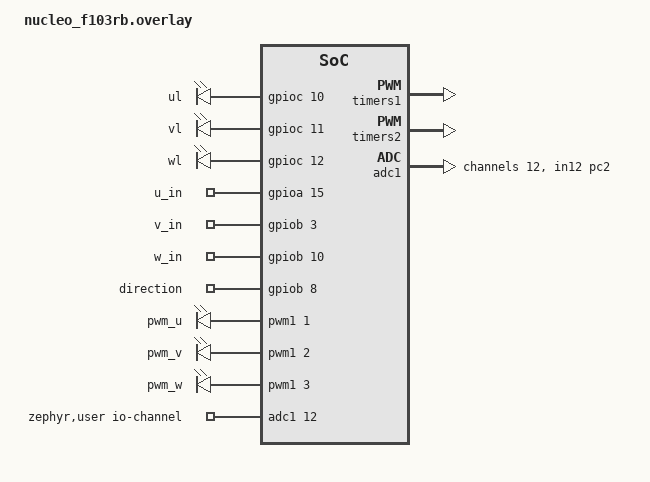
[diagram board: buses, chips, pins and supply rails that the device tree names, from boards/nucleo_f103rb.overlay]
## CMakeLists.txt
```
# SPDX-License-Identifier: Apache-2.0

cmake_minimum_required(VERSION 3.20.0)


find_package(Zephyr REQUIRED HINTS $ENV{ZEPHYR_BASE})
project(CAN)

target_sources(app PRIVATE src/main.cpp)
```

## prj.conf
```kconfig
CONFIG_POLL=y
CONFIG_CAN=y
CONFIG_CAN_INIT_PRIORITY=80
CONFIG_CAN_MAX_FILTER=5

CONFIG_SHELL=y
CONFIG_CAN_SHELL=y
CONFIG_DEVICE_SHELL=y

CONFIG_GPIO=y
CONFIG_STATS=y
CONFIG_STATS_NAMES=y
CONFIG_STATS_SHELL=y
CONFIG_CAN_STATS=y

CONFIG_CPP=y

CONFIG_ADC=y
CONFIG_PWM=y
CONFIG_COUNTER=y
```

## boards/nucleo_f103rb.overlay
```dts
/*
&can1 {
	status = "okay";
	pinctrl-0 = <&can_rx_pa11>, <&can_rx_pb8>;
	pinctrl-names = "default";
                bus-speed = <125000>;
                //sample-point = <875>;
                //bus-speed-data = <1000000>;
                //sample-point-data = <750>;
};
*/
/ {
	chosen {
		zephyr,canbus = &can1;
	};

        leds {
                compatible = "gpio-leds";
                ul: ul {
                        gpios = <&gpioc 10 GPIO_ACTIVE_HIGH>;
                };
                vl: vl {
                        gpios = <&gpioc 11 GPIO_ACTIVE_HIGH>;
                };
                wl: wl {
                        gpios = <&gpioc 12 GPIO_ACTIVE_HIGH>;
                };
        };
 
        gpio_keys {
                compatible = "gpio-keys";
                u_in: u_in {
                        gpios = <&gpioa 15 (GPIO_ACTIVE_HIGH | GPIO_PULL_DOWN)>;
                };
                v_in: v_in {
                        gpios = <&gpiob 3 (GPIO_ACTIVE_HIGH | GPIO_PULL_DOWN)>;
                };
                w_in: w_in {
                        gpios = <&gpiob 10 (GPIO_ACTIVE_HIGH | GPIO_PULL_DOWN)>;
                };
                direction: direction {
                        gpios = <&gpiob 8 GPIO_ACTIVE_HIGH>;
                };
        };
 
        pwmleds {
                compatible = "pwm-leds";
                pwm_u: pwm_u {
                        pwms = <&pwm1 1 PWM_USEC(20) PWM_POLARITY_NORMAL>;
                };
                pwm_v: pwm_v {
                        pwms = <&pwm1 2 PWM_USEC(20) PWM_POLARITY_NORMAL>;
                };
                pwm_w: pwm_w {
                        pwms = <&pwm1 3 PWM_USEC(20) PWM_POLARITY_NORMAL>;
                };
        };
 
        //analog_axis {
        zephyr,user {
                io-channels = <&adc1 12>;
        };
        //};
};
 
&usart1 {
        status = "disabled";
};

&i2c1 {
        status = "disabled";
};

&spi1 {
        status = "disabled";
};

&spi2 {
        status = "disabled";
};
/*
&gpioa {
        status = "okay";
};

&gpiob {
        status = "okay";
};
*/

&timers1 {
        status = "okay";
        st,prescaler = <79>;

        pwm1: pwm {
                compatible = "st,stm32-pwm";
                status = "okay";
                pinctrl-0 = <&tim1_ch1_pwm_out_pa8>, <&tim1_ch2_pwm_out_pa9>, <&tim1_ch3_pwm_out_pa10>;
                pinctrl-names = "default";
                #pwm-cells = <3>;
        };
};
 
&timers2 {
        status = "okay";
        st,prescaler = <799>;
	pwm {
		status = "disabled";
	};

	counter2: counter {
		status = "okay";
	};
};

&adc1 {
        #address-cells = <1>;
        #size-cells = <0>;

        pinctrl-0 = <&adc1_in12_pc2>;
        pinctrl-names = "default";
        status = "okay";
 
        channel@12 {
                reg = <12>;
                zephyr,gain = "ADC_GAIN_1";
                zephyr,reference = "ADC_REF_INTERNAL";
                zephyr,acquisition-time = <ADC_ACQ_TIME_DEFAULT>;
                zephyr,resolution = <12>;
        };
};
```

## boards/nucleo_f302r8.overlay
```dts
/ {
        chosen {
                zephyr,canbus = &can1;
        };

	pwmleds {
		compatible = "pwm-leds";
		pwm_u: pwm_u {
			pwms = <&pwm1 1 PWM_USEC(20) PWM_POLARITY_NORMAL>;
		};
		pwm_v: pwm_v {
			pwms = <&pwm1 2 PWM_USEC(20) PWM_POLARITY_NORMAL>;
		};
		pwm_w: pwm_w {
			pwms = <&pwm1 3 PWM_USEC(20) PWM_POLARITY_NORMAL>;
		};
	};
 
	zephyr,user {
		io-channels = <&adc1 1>, <&adc1 6>, <&adc1 7>, <&adc1 8>;
	};
};
 
&usart1 {
	status = "disabled";
};

&usart3 {
	status = "disabled";
};

&i2c1 {
	status = "disabled";
};

&spi2 {
	status = "disabled";
};
/*
&gpioa {
	status = "okay";
};

&gpiob {
	status = "okay";
};
*/

&timers1 {
	status = "okay";
	st,prescaler = <7>;

	pwm1: pwm {
		compatible = "st,stm32-pwm";
		status = "okay";
		pinctrl-0 = <&tim1_ch1_pa8>, <&tim1_ch2_pa9>, <&tim1_ch3_pa10>;
		pinctrl-names = "default";
		#pwm-cells = <3>;
	};
};

&timers2 {
	status = "okay";
	st,prescaler = <799>;
	pwm {
		status = "disabled";
	};

	counter2: counter {
		status = "okay";
	};
};

&timers3 {
	status = "okay";
	st,prescaler = <7>;
	pwm {
		status = "disabled";
	};

	counter3: counter {
		status = "okay";
	};
};

&timers6 {
	status = "okay";
	st,prescaler = <79>;
	pwm {
		status = "disabled";
	};

	counter6: counter {
		status = "okay";
	};
};

&timers7 {
	status = "okay";
	st,prescaler = <79>;
	pwm {
		status = "disabled";
	};

	counter7: counter {
		status = "okay";
	};
};

&timers15 {
	status = "okay";
	st,prescaler = <79>;
	pwm {
		status = "disabled";
	};

	counter15: counter {
		status = "okay";
	};
};

&timers16 {
	status = "okay";
	st,prescaler = <79>;
	pwm {
		status = "disabled";
	};

	counter16: counter {
		status = "okay";
	};
};

&timers17 {
	status = "okay";
	st,prescaler = <79>;
	pwm {
		status = "disabled";
	};

	counter17: counter {
		status = "okay";
	};
};

&adc1 {
	#address-cells = <1>;
	#size-cells = <0>;

	pinctrl-0 = <&adc1_in1_pa0>, <&adc1_in6_pc0>, <&adc1_in7_pc1>, <&adc1_in8_pc2>;
	pinctrl-names = "default";
	status = "okay";
 
	channel@1 {
		reg = <1>;
		zephyr,gain = "ADC_GAIN_1";
		zephyr,reference = "ADC_REF_INTERNAL";
		zephyr,acquisition-time = <ADC_ACQ_TIME_DEFAULT>;
		zephyr,resolution = <12>;
	};

	channel@6 {
		reg = <6>;
		zephyr,gain = "ADC_GAIN_1";
		zephyr,reference = "ADC_REF_INTERNAL";
		zephyr,acquisition-time = <ADC_ACQ_TIME_DEFAULT>;
		zephyr,resolution = <12>;
	};

	channel@7 {
		reg = <7>;
		zephyr,gain = "ADC_GAIN_1";
		zephyr,reference = "ADC_REF_INTERNAL";
		zephyr,acquisition-time = <ADC_ACQ_TIME_DEFAULT>;
		zephyr,resolution = <12>;
	};

	channel@8 {
		reg = <8>;
		zephyr,gain = "ADC_GAIN_1";
		zephyr,reference = "ADC_REF_INTERNAL";
		zephyr,acquisition-time = <ADC_ACQ_TIME_DEFAULT>;
		zephyr,resolution = <12>;
	};
};

&can1 {
        status = "okay";
        pinctrl-0 = <&can_rx_pa11>, <&can_tx_pa12>;
        pinctrl-names = "default";
                bus-speed = <500000>;
                //sample-point = <875>;
                //bus-speed-data = <1000000>;
                //sample-point-data = <750>;
};
```

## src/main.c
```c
#include <stdio.h>
#include <stdlib.h>
#include <zephyr/drivers/gpio.h>
#include <zephyr/drivers/adc.h>
#include <zephyr/drivers/pwm.h>
#include <zephyr/drivers/counter.h>

unsigned int q = 0, r = 0, s = 0;
int START = 8;

const struct gpio_dt_spec myled = GPIO_DT_SPEC_GET(DT_ALIAS(led0), gpios);
// static const struct gpio_dt_spec button = GPIO_DT_SPEC_GET(DT_NODELABEL(user_button), gpios);

const struct gpio_dt_spec EN_1 = GPIO_DT_SPEC_GET(DT_NODELABEL(ul), gpios);
const struct gpio_dt_spec EN_2 = GPIO_DT_SPEC_GET(DT_NODELABEL(vl), gpios);
const struct gpio_dt_spec EN_3 = GPIO_DT_SPEC_GET(DT_NODELABEL(wl), gpios);
const struct gpio_dt_spec H_A = GPIO_DT_SPEC_GET(DT_NODELABEL(u_in), gpios);
const struct gpio_dt_spec H_B = GPIO_DT_SPEC_GET(DT_NODELABEL(v_in), gpios);
const struct gpio_dt_spec H_C = GPIO_DT_SPEC_GET(DT_NODELABEL(w_in), gpios);
const struct pwm_dt_spec mypwm_A = PWM_DT_SPEC_GET(DT_NODELABEL(pwm_u));
const struct pwm_dt_spec mypwm_B = PWM_DT_SPEC_GET(DT_NODELABEL(pwm_v));
const struct pwm_dt_spec mypwm_C = PWM_DT_SPEC_GET(DT_NODELABEL(pwm_w));

const struct adc_dt_spec V_adc = ADC_DT_SPEC_GET(DT_PATH(zephyr_user));

const struct device *uT = DEVICE_DT_GET(DT_NODELABEL(counter2));

struct gpio_callback cb_H_A;
struct gpio_callback cb_H_B;
struct gpio_callback cb_H_C;
struct gpio_callback cb_button;

// RawCAN can1(PA_11, PA_12);
// unsigned int UP, VP, WP;

float Vr_adc = 0.0f;

uint32_t top_cb_count;

static void top_callback(const struct device *dev, void *user_data);

static struct counter_top_cfg top_cfg = {
	.ticks = 60000,
	.callback = top_callback,
	.user_data = &top_cb_count,
};

int64_t ut1 = 0, ut2 = 0, usi = 0;
float Speed = 0;

char message[64];
int canerr;

uint32_t loop_count;

int dummy_speed;
/*
void send_can_msg()
{
    CANMessage msg;

    float spd = Speed;

    msg.id = 0x3d9;
    msg.len = 8U;
    msg.format = CANStandard;
    msg.type = CANData;
    msg.data[0] = 0;
    msg.data[1] = 0;
    msg.data[2] = (spd * 4) / 256;
    msg.data[3] = int(spd * 4) % 256;
    msg.data[4] = 0;
    msg.data[5] = 0;
    msg.data[6] = 0;
    msg.data[7] = 0;

    canerr = can1.write(msg);

    msg.id = 0x3e9;
    msg.len = 8U;
    msg.format = CANStandard;
    msg.type = CANData;
    msg.data[0] = (spd * 128) / 256;
    msg.data[1] = int(spd * 128) % 256;
    msg.data[2] = 0;
    msg.data[3] = 0;
    msg.data[4] = 0;
    msg.data[5] = 0;
    msg.data[6] = 0;
    msg.data[7] = 0;

    canerr = can1.write(msg);

    dummy_speed++;
}
*/

void top_callback(const struct device *dev, void *user_data)
{
	uint32_t *cnt = static_cast<uint32_t*>(user_data);
	*cnt = *cnt + 1;
}

void pwm_write(const struct pwm_dt_spec *dt, float ratio)
{
	pwm_set_dt(dt, dt->period, dt->period * ratio);
}

void HAH()
{
	uint32_t tick;
	s = r % 2;
	if (s == 0) {
		counter_get_value(uT, &tick);
		ut1 = top_cb_count * top_cfg.ticks + tick;
		r++;
	}

	if (s == 1) {
		counter_get_value(uT, &tick);
		ut2 = top_cb_count * top_cfg.ticks + tick;
		r++;
		counter_stop(uT);
		counter_start(uT);
	}
	pwm_write(&mypwm_A, Vr_adc);
	pwm_write(&mypwm_B, 0);
	pwm_write(&mypwm_C, 0);
}

void HAL()
{

	pwm_write(&mypwm_A, 0);
	pwm_write(&mypwm_C, 0);
}
void HBH()
{

	pwm_write(&mypwm_A, 0);
	pwm_write(&mypwm_B, Vr_adc);
	pwm_write(&mypwm_C, 0);
}
void HBL()
{

	pwm_write(&mypwm_A, 0);
	pwm_write(&mypwm_B, 0);
}
void HCH()
{

	pwm_write(&mypwm_A, 0);
	pwm_write(&mypwm_B, 0);
	pwm_write(&mypwm_C, Vr_adc);
}

void HCL()
{
	pwm_write(&mypwm_B, 0);
	pwm_write(&mypwm_C, 0);
}

void H_A_handler(const struct device *port, struct gpio_callback *cb, gpio_port_pins_t pins)
{
	if (gpio_pin_get_dt(&H_A)) {
		HCH();
	} else {
		HCL();
	}
}

void H_B_handler(const struct device *port, struct gpio_callback *cb, gpio_port_pins_t pins)
{
	if (gpio_pin_get_dt(&H_B)) {
		HAH();
	} else {
		HAL();
	}
}

void H_C_handler(const struct device *port, struct gpio_callback *cb, gpio_port_pins_t pins)
{
	if (gpio_pin_get_dt(&H_C)) {
		HBH();
	} else {
		HBL();
	}
}

/*
void button_handler(const struct device *port,
					struct gpio_callback *cb,
					gpio_port_pins_t pins)
{
	if (gpio_pin_get_dt(&button)) {
		printf("button_rise\n");
	} else {
		printf("button_fall\n");
	}
}
*/

float volume_read(const struct adc_dt_spec *dt)
{
	uint16_t buf;
	struct adc_sequence seq = {
		.buffer = &buf,
		.buffer_size = sizeof(buf),
	};
	(void)adc_sequence_init_dt(dt, &seq);
	adc_read_dt(dt, &seq);
	return (1.0f * buf) / BIT(seq.resolution);
}

int main()
{
	// can1.frequency(500000);
	// can1.mode(mbed::interface::can::Normal);
	gpio_pin_configure_dt(&myled, GPIO_OUTPUT);
	gpio_pin_configure_dt(&EN_1, GPIO_OUTPUT);
	gpio_pin_configure_dt(&EN_2, GPIO_OUTPUT);
	gpio_pin_configure_dt(&EN_3, GPIO_OUTPUT);

	gpio_pin_configure_dt(&H_A, GPIO_INPUT);
	gpio_pin_configure_dt(&H_B, GPIO_INPUT);
	gpio_pin_configure_dt(&H_C, GPIO_INPUT);

	gpio_pin_interrupt_configure_dt(&H_A, GPIO_INT_EDGE_BOTH);
	gpio_pin_interrupt_configure_dt(&H_B, GPIO_INT_EDGE_BOTH);
	gpio_pin_interrupt_configure_dt(&H_C, GPIO_INT_EDGE_BOTH);
	// gpio_pin_interrupt_configure_dt(&button, GPIO_INT_EDGE_BOTH);

	gpio_init_callback(&cb_H_A, H_A_handler, BIT(H_A.pin));
	gpio_init_callback(&cb_H_B, H_B_handler, BIT(H_B.pin));
	gpio_init_callback(&cb_H_C, H_C_handler, BIT(H_C.pin));
	// gpio_init_callback(&cb_button, button_handler, BIT(button.pin));

	gpio_add_callback_dt(&H_A, &cb_H_A);
	gpio_add_callback_dt(&H_B, &cb_H_B);
	gpio_add_callback_dt(&H_C, &cb_H_C);
	// gpio_add_callback_dt(&button, &cb_button);

	adc_channel_setup_dt(&V_adc);

	gpio_pin_set_dt(&EN_1, 1);
	gpio_pin_set_dt(&EN_2, 1);
	gpio_pin_set_dt(&EN_3, 1);

	counter_set_top_value(uT, &top_cfg);
	int er = counter_start(uT);

	while (1) {
		Vr_adc = volume_read(&V_adc);
		pwm_write(&mypwm_C, Vr_adc);

		// send_can_msg();

		if ((Vr_adc > 0.15f) && (q == 0)) {
			while (q < 50) {

				pwm_write(&mypwm_A, 0);
				pwm_write(&mypwm_B, 0.5f);
				pwm_write(&mypwm_C, 0);
				k_msleep(START);

				pwm_write(&mypwm_A, 0.5f);
				pwm_write(&mypwm_B, 0);
				pwm_write(&mypwm_C, 0);
				k_msleep(START);

				pwm_write(&mypwm_A, 0);
				pwm_write(&mypwm_B, 0);
				pwm_write(&mypwm_C, 0.5f);
				k_msleep(START);
				q++;
			}
		}

		//  s=0;
		if (Vr_adc < 0.1f) {
			q = 0;
		}

		usi = abs(ut2 - ut1);
		Speed = 60 * (1 / (7.0 * usi * 1E-6));

		/*
		snprintf(message, sizeof(message), "%d.%03d , %d.%03d \r", (int)Speed,
			 (int)(Speed * 1000.0) % 1000, (int)Vr_adc, (int)(Vr_adc * 1000.0) % 1000);
		printf("%s", message);
		printf("%d  ,%d ,%d\r" ,gpio_pin_get_dt(&H_A),gpio_pin_get_dt(&H_B),gpio_pin_get_dt(&H_C));
		*/

		gpio_pin_toggle_dt(&myled);
	}
}
```

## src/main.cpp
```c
/**********************************************************/
/*Copyright ? 2021 Akiyoshi Oguro All Rights Reserved.*****/
/*矩形波駆動　CQBLDC_KIT+Nucleo_STM32F302R8+CQブラシレスモータ*/
/*EN1,EN2,EN3　→　UL、VL、WL 変更 20210331　*****************/
/*PWM優先駆動、PI制御周期化、アクセル⇔ボリューム切り替え機能追加**/
/*速度制御、電流制御、PWMDuty制御 切り替え機能追加***************/
/***************PWMDuty制御 切り替え機能変更****************/
/****************PI制御正規化*******************************/
/***************Ajust=0.7; //Nrpm_S回転速度計算値の調整******/
/*******************20210526*******************************/
#include "mbed.h"
#include <math.h>
#include <zephyr/drivers/can.h>

static const struct device *const can_dev = DEVICE_DT_GET(DT_CHOSEN(zephyr_canbus));

#define VMAX_SET  1.0f/*PI制御最大電圧指令0.0～1.0*/
#define IMAX_SET  0.4f/* PI制御最大電流指令0.0～1.0*/

/**********PI制御周期設定*********************/
/***コメントアウトでPI周期制御無し***********/
#define TickSpeed
#define TickCurrent
/*****************************************/
PwmOut PWM_U(PA_8); 
PwmOut PWM_V(PA_9); 
PwmOut PWM_W(PA_10);

DigitalOut UL(PA_7);
DigitalOut VL(PB_0);
DigitalOut WL(PB_1);


AnalogIn Curr_ui(PA_0);
AnalogIn Curr_vi(PC_1);
AnalogIn Curr_wi(PC_0);

//AnalogIn V_adc(PB_1); // Blue On Board volume
//AnalogIn V_adc(PC_2); // Gaibu Potention IHM07
//AnalogIn V_adc(PA_6); // Gaibu Potention IHM08
AnalogIn V_adc(PC_2);   // Gaibu Potention CQInv_KIT 

InterruptIn  HA(PA_15);
InterruptIn  HB(PB_3);
InterruptIn  HC(PB_10);

DigitalIn  U_in(PA_15);
DigitalIn  V_in(PB_3);
DigitalIn  W_in(PB_10);

DigitalIn Direction(PB_8);

Timer uTimer(DEVICE_DT_GET(DT_NODELABEL(counter15)));
Timer& vTimer = uTimer;//(DEVICE_DT_GET(DT_NODELABEL(counter6)));
Timer& wTimer = uTimer;//(DEVICE_DT_GET(DT_NODELABEL(counter7)));
//Timer Timer1; 

//AnalogOut SWAVE(PA_4);

Serial pc(USBTX,USBRX);

DigitalOut myled(LED1);

/************Option*********************/
unsigned char  acc_vol=1;            //オプション１ acc_vol==0 はVolume  acc_vol==1はAccel
unsigned char  Sp_tick=0,Cu_tick=0;  //周期PI制御フラグ
float Sp_ticktime=160,Cu_ticktime=80;//オプション２，３ PI制御周期時間、単位μsec
float  change_pwm_N=20;              //オプション５ ホールセンサエッジPWM優先駆動開始回転数
unsigned char  rt_pwm;               // ホールセンサエッジ割り込みPWM優先駆動フラグ rt_pwm＝１、優先無しrt_pwm＝0
/*******************************************/

unsigned char  HUVW;/* サンプリング開始時のHole ICの状態 */

unsigned int t_cnt = 0; /* キャプチャ間のcnt数 */

unsigned int Timer_cnt_C = 0; /* キャプチャの値 */
unsigned int Timer_cnt_A = 0; /* キャプチャの値 */
unsigned int Timer_cnt_B = 0; /* キャプチャの値 */
unsigned int Timer_cnt_C_1 = 0; /* キャプチャの値old */
unsigned int Timer_cnt_A_1 = 0; /* キャプチャの値old */
unsigned int Timer_cnt_B_1 = 0; /* キャプチャの値old */

float   iu_ad, iv_ad, iw_ad;
float   Vu_ad, Vv_ad, Vw_ad;
float   vr1_ad,vr_ad,vr1_ad_p;//vr2_ad;
float   Vr_adc_i;  
float   refu, refv, refw;
float   curr_ub,curr_vb,curr_wb,curr_u,curr_v,curr_w;


float   Nrpm = 0;/* 回転数[r/min] */
float   Nrpm_Previous = 0;/* 回転数[r/min]old  */
float   Nrpm_s = 0;/* 回転数[r/min]  */
float   Speed_now=0;
float   Speed_MAX = 3500.0;/* 速度指令合大値 6直1500 3直2並2500 2直3並3500 6並6500 */
float   Speed_SET = 0.0; /* 速度指令[r/min] */
float   Speed_SET0 = 0.0; /* 速度指令[r/min] */
float   Accel_dN = 1.0; /* 加速レイト */
float   Decel_dN = 1.0; /* 減速レイト */
float   Speed_mini=300;
float   Speed_err_MAX=10000;

/* ↓正弦波駆動に向けて追加 */

unsigned int Timer_FLG = 0; /*  キャプチャあり/なし, 1/0  */
unsigned int Timer_cnt_start = 0; /*  サンプル開始時のカウンタ値 */
unsigned int Timer_cnt_Hole = 0; /*  キャプチャ時ののカウンタ値 */



unsigned char  UVW;
unsigned char  U, V, W;
unsigned char  PWM_Drive_M = 1;/* PWMモード */
unsigned char  Direct_R = 1; /* Direct_R -> 1:正転，0:逆転 */

/* **************** */
/*     電流制御     */
/* **************** */

float kpCurrent = 0.000522; /* 比例ゲイン */
float kiCurrent = 0.00022;  /* 積分ゲイン */
float s_kiCurrent=0;
float I_PI=0,I_PII;
float I_diff=0;
float I_detect=0;
float Vpi=0;

/* **************** */
/*     速度制御     */
/* **************** */
float kaiten=0;
float Speed_diff = 0.0; /* 速度誤差 */
float kpSpeed = 1.4;    /* 比例ゲイン 0.4;*/
float kiSpeed = 0.8; /* 積分ゲイン 0,2;*/
float s_kiSpeed = 0.0; /* 積分器中身 */
float Speed_diff_norm=0.0;
float Ajust=0.7; //Nrpm_S回転速度計算値の調整
/*******Ticker*********************/
Ticker Sp(DEVICE_DT_GET(DT_NODELABEL(counter16)));
Ticker Cu(DEVICE_DT_GET(DT_NODELABEL(counter17)));

/*******************************************/
 float  PWMDuty=0;



static void tx_irq_callback(const struct device *dev, int error, void *arg)
{
	char *sender = (char *)arg;

	ARG_UNUSED(dev);

	if (error != 0) {
		printf("Callback! error-code: %d\nSender: %s\n",
		       error, sender);
	}
}

int dummy_speed;

static void send_engine_speed(const struct device *can_dev, struct can_frame *frame, int speed)
{
	//speed = dummy_speed;
	dummy_speed++;

	memset(frame, 0, sizeof(struct can_frame));
            //# Engine speed
            //speed = self.simulator.get_engine_speed()
            //if self.verbose:
            //    print('engine speed = %d' % speed)
            //if speed > 16383.75:
            //    speed = 16383.75
            //# Message is 1 byte unknown, 1 byte fuel level, 2 bytes engine speed (4x), fuel low @ bit 55

       	//msg = [ 0, 0 ]
	frame->data[0] = 0;
	frame->data[1] = 0;
        //speed *= 4
        //msg.append(speed // 256)
        //msg.append(speed % 256)
	frame->data[2] = (speed * 4) / 256;
	frame->data[3] = (speed * 4) % 256;
        //# pad remaining bytes to make 8
        //msg.append(0)
        //msg.append(0)
        //msg.append(0)
        //msg.append(0)
	frame->data[4] = 0;
	frame->data[5] = 0;
	frame->data[6] = 0;
	frame->data[7] = 0;

	frame->id = 0x3d9;
	frame->flags = 0;
	frame->dlc = 8;

	can_send(can_dev, frame, K_FOREVER, tx_irq_callback, const_cast<char*>("send_engine_speed"));
}

static void send_vehicle_speed(const struct device *can_dev, struct can_frame *frame, int speed)
{
	memset(frame, 0, sizeof(struct can_frame));
        //# Vehicle speed
        //speed = int(self.simulator.get_vehicle_speed()) % 256
        /* Message is 15 bits speed (64x), left aligned */
        /* Note: extra 2x to yield required left-alignment */
	frame->data[0] = ((speed/60) * 128) / 256;
	frame->data[1] = ((speed/60) * 128) % 256;
        /* pad remaining bytes to make 8 */
	frame->data[2] = 0;
	frame->data[3] = 0;
	frame->data[4] = 0;
	frame->data[5] = 0;
	frame->data[6] = 0;
	frame->data[7] = 0;

	frame->id = 0x3e9;
	frame->flags = 0;
	frame->dlc = 8;

	can_send(can_dev, frame, K_FOREVER, tx_irq_callback, const_cast<char*>("send_vehicle_speed"));
}

void send_can_data(struct can_frame *frame)
{
	send_engine_speed(can_dev, frame, 0);
	//send_vehicle_speed(can_dev, frame, 0);
}


/**************Hall Sensor******************/
unsigned char UVW_in(void)
{
    unsigned char temp8;
#if 1
    temp8 = W_in;  
    temp8 = (temp8+temp8) + V_in; //V
    temp8 = (temp8+temp8) + U_in; //U
    
#endif
    return temp8;
}
/********Hall Caputure****************/
void Capture_u()
    {            
    Timer_cnt_A = uTimer.read_us();
    Timer_FLG = 1;  /* キャプチャ発生フラグ */
    Timer_cnt_Hole = Timer_cnt_A;/**/
    
    t_cnt = Timer_cnt_A - Timer_cnt_A_1;
    if(t_cnt<1){t_cnt=1;}
    else{}
    Nrpm = (float)(5000000/ t_cnt);
    if( ((Nrpm-Nrpm_Previous)<Speed_err_MAX) && ((Nrpm-Nrpm_Previous)>(-Speed_err_MAX)) )
    { /* 速度異常 */
           Nrpm_Previous = Nrpm;
    }
    else
    {
       Nrpm = Nrpm_Previous;
    }
    Timer_cnt_A_1 = Timer_cnt_A;
  }
    
void Capture_v()
    {
              
    Timer_cnt_B = vTimer.read_us();
    
    Timer_FLG = 1;  /* キャプチャ発生フラグ */
    Timer_cnt_Hole = Timer_cnt_B;/**/

    t_cnt = Timer_cnt_B - Timer_cnt_B_1;
    if(t_cnt<1){t_cnt=1;}
    else{}
    Nrpm = (float)(5000000/ t_cnt);//P=8 
    if( ((Nrpm-Nrpm_Previous)<Speed_err_MAX) && ((Nrpm-Nrpm_Previous)>(-Speed_err_MAX)) )
    { /* 速度異常 */
           Nrpm_Previous = Nrpm;
    }
    else
    {
       Nrpm = Nrpm_Previous;
    }
    Timer_cnt_B_1 = Timer_cnt_B;
  }
   
void Capture_w()
    {
              
    Timer_cnt_C = wTimer.read_us();
    
    Timer_FLG = 1;  /* キャプチャ発生フラグ */
    Timer_cnt_Hole = Timer_cnt_C;/**/

    t_cnt = Timer_cnt_C - Timer_cnt_C_1;
    if(t_cnt<1){t_cnt=1;}
    else{}
    Nrpm = (float)(5000000/ t_cnt);
    if( ((Nrpm-Nrpm_Previous)<Speed_err_MAX) && ((Nrpm-Nrpm_Previous)>(-Speed_err_MAX)) )
    { /* 速度異常 */
           Nrpm_Previous = Nrpm;
    }
    else
    {
       Nrpm = Nrpm_Previous;
    }
    Timer_cnt_C_1 = Timer_cnt_C;
  } 

/*********************************************/

int u_count;
int ul_count;
int v_count;
int vl_count;
int w_count;
int wl_count;
 /* Hall_uにキャプチャ発生 */
void Hall_u()
    {            
u_count++;
  if(rt_pwm==1){
    
    if(Direct_R==0){
       PWM_U.write(PWMDuty); PWM_V.write(0); PWM_W.write(0); 
       UL=1; VL = 0; WL= 1;//0:Active 1:High inpeedance 
       }
    if(Direct_R==1){
       PWM_U.write(0); PWM_V.write(0); PWM_W.write(PWMDuty); 
       UL=1; VL = 0; WL= 1;//0:Active 1:High inpeedance 
       }
    
    }else{}
    Capture_u();//速度計算へ
     }
 void Hall_ul() 
    {
ul_count++;
      
    if(rt_pwm==1){
     
    if(Direct_R==0){
    PWM_U.write(0); PWM_V.write(PWMDuty); PWM_W.write(0); 
    UL=0; VL = 1; WL= 1;//0:Active 1:High inpeedance 
    }
    if(Direct_R==1){
    PWM_U.write(0); PWM_V.write(PWMDuty); PWM_W.write(0); 
    UL=1; VL = 1; WL= 0;//0:Active 1:High inpeedance 
    
     }
    
    }else{}  
    Capture_u();//速度計算へ
    }  
    
    /* Hall_vにキャプチャ発生 */
void Hall_v()
    { 
v_count++;
    
    if(rt_pwm==1){
        
    if(Direct_R==0){
    PWM_U.write(0); PWM_V.write(PWMDuty); PWM_W.write(0); 
    UL=1; VL = 1; WL= 0;//0:Active 1:High inpeedance 
    }
    if(Direct_R==1){
    PWM_U.write(PWMDuty); PWM_V.write(0); PWM_W.write(0); 
    UL=1; VL = 1; WL= 0;//0:Active 1:High inpeedance 
    }
    
    }else{} 
     Capture_v();  //速度計算へ       
      }
    
void Hall_vl() 
    {
vl_count++;
     
     if(rt_pwm==1){
    if(Direct_R==0){
     PWM_U.write(0); PWM_V.write(0); PWM_W.write(PWMDuty); 
     UL=1; VL = 0; WL= 1;//0:Active 1:High inpeedance 
     }
    if(Direct_R==1){
     PWM_U.write(0); PWM_V.write(0); PWM_W.write(PWMDuty); 
     UL=0; VL = 1; WL= 1;//0:Active 1:High inpeedance 
     }
     
     }else{}
     Capture_v(); //速度計算へ
        }  
    /* Hall_Wにキャプチャ発生 */
void Hall_w()
    {
w_count++;
      
 if(rt_pwm==1){
         
    if(Direct_R==0){    
     PWM_U.write(0); PWM_V.write(0); PWM_W.write(PWMDuty); 
     UL=0; VL = 1; WL= 1;//0:Active 1:High inpeedance 
     }
    if(Direct_R==1){    
     PWM_U.write(0); PWM_V.write(PWMDuty); PWM_W.write(0); 
     UL=0; VL = 1; WL= 1;//0:Active 1:High inpeedance 
     }
    }else{}
     Capture_w(); //速度計算へ         
      }
void Hall_wl() 
    { 
wl_count++;
    
   if(rt_pwm==1){
        
    if(Direct_R==0){  
    PWM_U.write(PWMDuty); PWM_V.write(0); PWM_W.write(0); 
    UL=1; VL = 1; WL= 0;//0:Active 1:High inpeedance 
    }
    if(Direct_R==1){  
    PWM_U.write(PWMDuty); PWM_V.write(0); PWM_W.write(0); 
    UL=1; VL = 0; WL= 1;//0:Active 1:High inpeedance 
    }
    
    }else{}
    Capture_w();//速度計算へ
        } 
/****************************************/        
int speed_pi_count;
void Speed_PI(){
	speed_pi_count++;
    /* ----------- */
    /* SpeedのPI制御 */
    /* ----------- */
    s_kiSpeed += kiSpeed*Speed_diff;
    if(s_kiSpeed > IMAX_SET)
    {
    s_kiSpeed = IMAX_SET;
    }
    else
    {
    if(s_kiSpeed < (-IMAX_SET))
    {
       s_kiSpeed = -IMAX_SET; 
    }else{}
    }
    
    I_PI = s_kiSpeed + kpSpeed*Speed_diff;
    
    if(I_PI > IMAX_SET)
    {
    I_PI = IMAX_SET;
    }
    else
    {
    if(I_PI < (-IMAX_SET))
    {
        I_PI = -IMAX_SET; 
    }else{}
    }
 }

int current_pi_count;
 /***********************************/
 void Current_PI(){
	 current_pi_count++;
 I_diff = (I_PI - (I_detect-0.5f))*I_PII;
    s_kiCurrent += kiCurrent*(I_diff);
    if(s_kiCurrent > VMAX_SET)
    {
    s_kiCurrent = VMAX_SET;
    }
    else
    {
    if(s_kiCurrent < (-VMAX_SET))
    {
       s_kiCurrent = -VMAX_SET; 
    }else{}
    }
    
    
    Vpi = s_kiCurrent + kpCurrent*I_diff;
    
    if(Vpi > VMAX_SET)
    {
    Vpi = VMAX_SET;
    }
    else
    {
    if(Vpi < (-VMAX_SET))
    {
        Vpi = -VMAX_SET; 
    }else{}
    }
 
  }
    
/********main***********/
int main() {
  struct can_frame change_led_frame;
  int ret;
    //Timer1.start();  
    uTimer.start();
    vTimer.start();
    wTimer.start();
      
    PWM_U.period_us(25);//25
   
    PWM_V.period_us(25);
   
    PWM_W.period_us(25);
    
    pc.baud(115200);

    wait_ms(500);    
    Vr_adc_i=V_adc.read();  


	if (!device_is_ready(can_dev)) {
		printf("CAN: Device %s not ready.\n", can_dev->name);
		return 0;
	}

#ifdef CONFIG_LOOPBACK_MODE
	ret = can_set_mode(can_dev, CAN_MODE_LOOPBACK);
	if (ret != 0) {
		printf("Error setting CAN mode [%d]", ret);
		return 0;
	}
#endif
	ret = can_start(can_dev);
	if (ret != 0) {
		printf("Error starting CAN controller [%d]", ret);
		return 0;
	}



     
#ifdef TickSpeed
  Sp.attach_us(&Speed_PI, Sp_ticktime);
  Sp_tick=1;
#endif

#ifdef TickCurrent
  Cu.attach_us(&Current_PI, Cu_ticktime);
  Cu_tick=1;
#endif

#if PERIPH_CHECK
  while(1) {
	  k_msleep(1000);
	  printf("ticker %d %d\n", speed_pi_count, current_pi_count);
	  printf("timer %d %d %d\n", uTimer.read_us(), vTimer.read_us(), wTimer.read_us());
	  printf("adc V=%lf u=%lf v=%lf w=%lf\n", V_adc.read(), Curr_ui.read(), Curr_vi.read(), Curr_wi.read());

	  printf("intr %d %d %d %d %d %d\n", u_count, ul_count, v_count, vl_count, w_count, wl_count);
	  printf("In %d %d %d %d\n", (int)U_in, (int)V_in, (int)W_in, (int)Direction);
	  printf("Out %d %d %d\n", (int)UL, (int)VL, (int)WL);
  }

#else
 while(1) {
   send_can_data(&change_led_frame);
   //wait_us(50); //20
   //pc.printf("%.3f,%.3f,%.3f \r" ,du,dv,dw);
   vr_ad=V_adc.read();
   vr1_ad_p=(vr_ad-Vr_adc_i); //ボリュームを使う場合
   //vr1_ad_p=(vr_ad-Vr_adc_i)*1.3; //カート・キットのアクセルを使う場合
   vr1_ad+=(vr1_ad_p-vr1_ad)*0.2f;//0.1
     
    Timer_cnt_start = uTimer.read_us(); /* カウンタ値 */
    
    if(fabs(vr1_ad)<0.1f)
    {
       
        Speed_SET = 0.0;
        Speed_SET0 = 0.0;
        Speed_now=0;
        I_PI= 0;
        I_diff = 0;
        Speed_diff=0;
        Nrpm_s=0;
        Nrpm=0;
        PWMDuty=0;
        
        Timer_cnt_C = 0; /* キャプチャの値 */
        Timer_cnt_A = 0; /* キャプチャの値 */
        Timer_cnt_B = 0; /* キャプチャの値 */
        Timer_cnt_C_1 = 0; /* キャプチャの値old */
        Timer_cnt_A_1 = 0; /* キャプチャの値old */
        Timer_cnt_B_1 = 0; /* キャプチャの値old */
        s_kiCurrent=0;
        s_kiSpeed=0;
         I_PI=0;
        I_diff=0;
        I_detect=0;
        Vpi=0;
        kaiten=0;
        rt_pwm=0;
        
    }
    else
    {   
        }

   
   if(Direct_R>0){
      curr_ub=Curr_ui.read();
      curr_vb=Curr_vi.read();
      curr_wb=Curr_wi.read();
    }else{
      curr_ub=Curr_ui.read();
      curr_vb=Curr_vi.read();
      curr_wb=Curr_wi.read();
      
      }
      
      curr_u += ((curr_ub) - curr_u )*0.1f;
      curr_v += ((curr_vb) - curr_v )*0.1f;
      curr_w += ((curr_wb) - curr_w )*0.1f;
      

/* *********************************************** */    
/* [ 1 ] 速度検出↓ */
/* *********************************************** */

 /* キャプチャ発生 */
 
  if(Direct_R==1){  //1
  HA.rise(&Hall_u);
  HA.fall(&Hall_ul);
  HB.rise(&Hall_v);
  HB.fall(&Hall_vl);
  HC.rise(&Hall_w);
  HC.fall(&Hall_wl);
  }
 if(Direct_R==0){ //0    
  HA.rise(&Hall_u);
  HA.fall(&Hall_ul);
  HB.rise(&Hall_v);
  HB.fall(&Hall_vl);
  HC.rise(&Hall_w);
  HC.fall(&Hall_wl);
  }
 
   Nrpm_s = Nrpm;
   
  
/* *********************************************** */
 /* [ 2 ] 速度制御 ↓ */
 /* *********************************************** */     
        
    Speed_SET0 = fabs(Speed_MAX*vr1_ad); 
     if(Speed_SET0>0){      
        if(Speed_now > Speed_SET0)
        {
                Speed_now -= Decel_dN; 
                if(Speed_now < Speed_SET0)
                {
                Speed_now = Speed_SET0;
                }
                else{}
        }
        else{}
        
        if(Speed_now < Speed_SET0)
        {
            Speed_now += Accel_dN;  
                if(Speed_now > Speed_SET0)
                {
                Speed_now = Speed_SET0;
            }
                else{}
        }
        else{}
     if(Speed_now<Speed_mini)
        {
            Speed_now = Speed_mini;
        }
        else{}
      } 
      else{}
        
        Speed_SET = Speed_now; 
        
        Speed_diff =( Speed_SET-Nrpm_s*Ajust);
        Speed_diff_norm=Speed_diff/Speed_MAX;//正規化
         
if(Sp_tick==0){       
    /* ----------- */
    /* SpeedのPI制御 */
    /* ----------- */
    s_kiSpeed += kiSpeed*Speed_diff_norm;
    if(s_kiSpeed > IMAX_SET)
    {
    s_kiSpeed = IMAX_SET;
    }
    else
    {
    if(s_kiSpeed < (-IMAX_SET))
    {
       s_kiSpeed = -IMAX_SET; 
    }else{}
    }
    
    I_PI = s_kiSpeed + kpSpeed*Speed_diff;
    
    if(I_PI > IMAX_SET)
    {
    I_PI = IMAX_SET;
    }
    else
    {
    if(I_PI < (-IMAX_SET))
    {
        I_PI = -IMAX_SET; 
    }else{}
    }
 }else{}   
    
/* *********************************************** */
/* [ 3 ] 電流制御 */
/* *********************************************** */

    /* ----------- */
    /* Current Read*/
    /* ----------- */
    if(Direct_R==0){
     switch (PWM_Drive_M)
    {
        case 1: I_detect = (curr_v ); 
        break;
        case 2: I_detect = (curr_w );
        break;
        case 3: I_detect = (curr_w); 
        break;
        case 4: I_detect = (curr_u);
        break;
        case 5: I_detect = (curr_u);
        break;
        case 6: I_detect = (curr_v);
        break;
    default:I_detect = 0.0;
    }
   }
   
   if(Direct_R==1){
     switch (PWM_Drive_M)
    {
        case 1: I_detect = (curr_w); 
        break;
        case 2: I_detect = (curr_w); 
        break;
        case 3: I_detect = (curr_v); 
        break;
        case 4: I_detect = (curr_v); 
        break;
        case 5: I_detect = (curr_u);
        break;
        case 6: I_detect = (curr_u);
        break;
    default:I_detect = 0.0;
    }
    }  
 
    /* ----------- */
    /* CurrentのPI制御 */
    /* ----------- */
   
 if(Cu_tick==0){
    I_diff = (I_PI - (I_detect-0.5f))*I_PII;
    s_kiCurrent += kiCurrent*I_diff;
    if(s_kiCurrent > VMAX_SET)
    {
    s_kiCurrent = VMAX_SET;
    }
    else
    {
    if(s_kiCurrent < (-VMAX_SET))
    {
       s_kiCurrent = -VMAX_SET; 
    }else{}
    }
    
    
    Vpi = s_kiCurrent + kpCurrent*I_diff;
    
    if(Vpi > VMAX_SET)
    {
    Vpi = VMAX_SET;
    }
    else
    {
    if(Vpi < (-VMAX_SET))
    {
        Vpi = -VMAX_SET; 
    }else{}
    }
  }else{}
    
     kaiten=fabs(Nrpm_s);
     
  /****************OOPTION4**********************/
  /**********Speed  Current  PWMDuty Control*********/
      I_PII=1.0;        // Speed or Duty Control
      //I_PII=fabs(vr1_ad);//Current Control
      //PWMDuty = Vpi;// 0.381667 Speed or Current Control
      PWMDuty=fabs(vr1_ad)*Vpi; //Duty Control
  /**************************************************/
  
  if(kaiten<change_pwm_N){
      rt_pwm=0;
      }else{
      rt_pwm=1; 
          }

if(acc_vol==0){   //volume
    if(vr1_ad>0.1f){
          Direct_R=0;
         
        }else{
            }
            
     if(vr1_ad<-0.1f){
          Direct_R=1;
          
        }else{
            }
}else{}

if(acc_vol==1){   //Accel
    if(Direction==1){
          Direct_R=0;
          
        }else{
            }
            
     if(Direction==0){
          Direct_R=1;
          
        }else{
            }
}else{}

   
  /* ------------ */
    /* モードの更新 */
    /* ------------ */
    
    UVW = UVW_in(); /* センサ付・ホールIC信号 */
    
       #if 1   
        if(Direct_R==1){     
             switch (UVW)
            {
                case 1: PWM_Drive_M = 5;  break;
                case 2: PWM_Drive_M = 3;  break;
                case 3: PWM_Drive_M = 4;  break;
                case 4: PWM_Drive_M = 1;  break;
                case 5: PWM_Drive_M = 6;  break;
                case 6: PWM_Drive_M = 2;  break;
                default: PWM_Drive_M = 1; break;
               }
        }else{}
     #endif
    
       if(Direct_R==0){
            switch (UVW)
            {
                case 1: PWM_Drive_M = 2;  break;
                case 2: PWM_Drive_M = 4;  break;
                case 3: PWM_Drive_M = 3;  break;
                case 4: PWM_Drive_M = 6;  break;
                case 5: PWM_Drive_M = 1;  break;
                case 6: PWM_Drive_M = 5;  break;
                default: PWM_Drive_M = 1; break;
               } 
         }else{}  


if(rt_pwm==0){           
 #if 1  
if(Direct_R==0){
 /************* PWM 駆動 0**** */
    switch (PWM_Drive_M)
    {
    case 1:   PWM_U.write(PWMDuty); PWM_V.write(0); PWM_W.write(0); 
              UL=1; VL = 0; WL= 1;//0:Active 1:High inpeedance
        break;
    case 2:   PWM_U.write(PWMDuty); PWM_V.write(0); PWM_W.write(0);
              UL=1; VL = 1; WL = 0;
        break;
    case 3:   PWM_U.write(0); PWM_V.write(PWMDuty); PWM_W.write(0);
              UL=1; VL = 1; WL = 0;
        break;
    case 4:   PWM_U.write(0); PWM_V.write(PWMDuty); PWM_W.write(0);
              UL=0; VL = 1; WL = 1;
        break;
    case 5:   PWM_U.write(0); PWM_V.write(0); PWM_W.write(PWMDuty);
              UL=0; VL = 1; WL = 1;
              
        break;
    case 6:   PWM_U.write(0); PWM_V.write(0); PWM_W.write(PWMDuty);
              UL=1; VL = 0; WL = 1;
        break;
    default:  PWM_U.write(0); PWM_V.write(0); PWM_W.write(0);
              UL=1; VL = 1; WL = 1;
    break; 
    }
    }else{}
#endif 

#if 1  
  if(Direct_R==1){
 /************* PWM 駆動 1**** */
    switch (PWM_Drive_M)
    {
    case 1:   PWM_U.write(0); PWM_V.write(PWMDuty); PWM_W.write(0); 
              UL=1; VL = 1; WL= 0;//0:Active 1:High inpeedance
        break;
    case 2:   PWM_U.write(PWMDuty); PWM_V.write(0); PWM_W.write(0);
              UL=1; VL = 1; WL = 0;
        break;
    case 3:   PWM_U.write(PWMDuty); PWM_V.write(0); PWM_W.write(0);
              UL=1; VL = 0; WL = 1;
        break;
    case 4:   PWM_U.write(0); PWM_V.write(0); PWM_W.write(PWMDuty);
              UL=1; VL = 0; WL = 1;
        break;
    case 5:   PWM_U.write(0); PWM_V.write(0); PWM_W.write(PWMDuty);
              UL=0; VL = 1; WL = 1;
              
        break;
    case 6:   PWM_U.write(0); PWM_V.write(PWMDuty); PWM_W.write(0);
              UL=0; VL = 1; WL = 1;
        break;
    default:  PWM_U.write(0); PWM_V.write(0); PWM_W.write(0);
              UL=1; VL = 1; WL = 1;
    break;
      
    }
    }else{}
    
#endif 
}
else{}//rt_pwm==0
     
         //SWAVE=Nrpm/10000;
         //SWAVE=Speed_diff/500+0.5;
          // SWAVE=Speed_now/750;
        //SWAVE=I_diff/50+0.5;
        // SWAVE=vr1_ad;
        // SWAVE=PWMDuty;
        // SWAVE=Vpi;
        //SWAVE=curr_u;
         //SWAVE=I_diff/24;
         //SWAVE=I_PI/50+0.5;
         //SWAVE=I_PI/100;
         //SWAVE=(I_detect-0.5)*303;
         //SWAVE=Speed_diff_norm+0.5;
     }//while
#endif
     }//main
```

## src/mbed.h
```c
#pragma once
#include <zephyr/drivers/gpio.h>
#include <zephyr/drivers/adc.h>
#include <zephyr/drivers/pwm.h>
#include <zephyr/drivers/counter.h>
#include <zephyr/drivers/uart.h>
#include <stdio.h>
#include <stdlib.h>

#define USBTX 0
#define USBRX 0

extern "C" {
	typedef void (*InterruptIn_fn)();

	struct InterruptIn_data {
		struct gpio_callback cb;
		const struct gpio_dt_spec *spec;
		InterruptIn_fn rise_fn;
		InterruptIn_fn fall_fn;
	};
}

class DigitalOut
{
	const struct gpio_dt_spec &dt;
public:
	DigitalOut(const struct gpio_dt_spec &pdt) : dt(pdt)
	{
		gpio_pin_configure_dt(&dt, GPIO_OUTPUT);
	}
	void operator=(int v)
	{
		gpio_pin_set_dt(&dt, v);
	}
	operator int()
	{
		return gpio_pin_get_dt(&dt);
	}
};

class DigitalIn
{
	const struct gpio_dt_spec &dt;
public:
	DigitalIn(const struct gpio_dt_spec &pdt) : dt(pdt)
	{
		gpio_pin_configure_dt(&dt, GPIO_INPUT);
	}
	bool operator==(const int &x)
	{
		return ((int)this == x);
	}
	operator int()
	{
		return gpio_pin_get_dt(&dt);
	}
};

class InterruptIn
{
	const struct gpio_dt_spec &dt;
	struct InterruptIn_data data;

	static void InterruptIn_Handler(const struct device *port, struct gpio_callback *cb, gpio_port_pins_t pins)
	{
		struct InterruptIn_data *data = CONTAINER_OF(cb, struct InterruptIn_data, cb);
		if (gpio_pin_get_dt(data->spec)) {
			if (data->rise_fn) {
				data->rise_fn();
			}
		} else {
			if (data->fall_fn) {
				data->fall_fn();
			}
		}
	}
public:
	InterruptIn(const struct gpio_dt_spec &pdt) : dt(pdt)
	{
		gpio_pin_configure_dt(&dt, GPIO_INPUT);
		gpio_pin_interrupt_configure_dt(&dt, GPIO_INT_EDGE_BOTH);
		data.spec = &dt;
	       	gpio_init_callback(&data.cb, InterruptIn_Handler, BIT(dt.pin));
		gpio_add_callback_dt(&dt, &data.cb);
	}
	void rise(void (*fn)())
	{
		data.rise_fn = fn;
	}
	void fall(void (*fn)())
	{
		data.fall_fn = fn;
	}
};

class PwmOut
{
	const struct pwm_dt_spec &dt;
	int period_usec;
public:
	PwmOut(const struct pwm_dt_spec &pdt) : dt(pdt) , period_usec(20)
	{
	}
	void write(float duty)
	{
		pwm_set_dt(&dt, period_usec * 1000, period_usec * 1000 * duty);
	}
	void period_us(int us)
	{
		period_usec = us;
	}
};

class AnalogIn
{
	const struct adc_dt_spec &dt;
public:
	AnalogIn(const struct adc_dt_spec &pdt) : dt(pdt)
	{
		adc_channel_setup_dt(&pdt);
	}
	float read()
	{
		uint16_t buf;
		struct adc_sequence seq = {
			.buffer = &buf,
			.buffer_size = sizeof(buf),
		};
		(void)adc_sequence_init_dt(&dt, &seq);
		adc_read_dt(&dt, &seq);
		return (1.0f * buf) / BIT(seq.resolution);
	}
};

class Timer
{
	const struct device *dev;
	uint32_t top_cb_count;
	struct counter_top_cfg top_cfg;
	bool running;

	static void top_callback(const struct device *dev, void *user_data)
	{
		uint32_t *cnt = static_cast<uint32_t*>(user_data);
		*cnt = *cnt + 1;
	}

public:
	Timer(const struct device *_dev) : dev(_dev), running(false)
	{
		top_cfg.ticks = 60000;
	       	top_cfg.callback = Timer::top_callback;
	       	top_cfg.user_data = &top_cb_count;
		counter_set_top_value(dev, &top_cfg);
	}

	void start()
	{
		running = true;
		counter_start(dev);
	}

	void stop()
	{
		running = false;
		counter_stop(dev);
	}

	void reset()
	{
		counter_stop(dev);
		counter_start(dev);
	}
	int read_us()
	{
		uint32_t tick = 0;
	       	counter_get_value(dev, &tick);
		return top_cb_count * top_cfg.ticks + tick;
	}
};

typedef void (*voidfn)();

class Ticker
{
	const struct device *dev;
	uint32_t top_cb_count;
	struct counter_top_cfg top_cfg;

	static void top_callback(const struct device *dev, void *user_data)
	{
		voidfn fnx  = reinterpret_cast<voidfn>(user_data);
		fnx();
	}
public:
	Ticker(const struct device *d) : dev(d)
	{
	}

	void attach_us(voidfn func, float us)
	{
		top_cfg.ticks = static_cast<uint32_t>(us);
		top_cfg.callback = Ticker::top_callback;
		top_cfg.user_data = reinterpret_cast<void*>(func);
		counter_set_top_value(dev, &top_cfg);
		counter_start(dev);
	}
};

class Serial
{
	const struct device *dev;
public:
	Serial(int tx, int rx)
	{
		if (tx == USBTX && rx == USBRX) {
			dev = DEVICE_DT_GET(DT_CHOSEN(zephyr_console));
		}
	}

	void baud(uint32_t baud)
	{
		struct uart_config cfg;

		if (dev) {
			uart_config_get(dev, &cfg);
			cfg.baudrate = baud;
			uart_configure(dev, &cfg);
		}
	}

	int printf(const char* fmt, ...)
	{
		va_list arg_ptr;
		int ret;

		va_start(arg_ptr, fmt);
		ret = vprintf(fmt, arg_ptr);
		va_end(arg_ptr);

		return ret;
	}
};

static inline void wait_ms(int x)
{
	k_sleep(K_MSEC(x));
}

static const struct gpio_dt_spec PA_7 = { 
	.port = DEVICE_DT_GET(DT_NODELABEL(gpioa)),
	.pin = 7,
	.dt_flags = GPIO_ACTIVE_HIGH,
};
static const struct gpio_dt_spec PB_0 = { 
	.port = DEVICE_DT_GET(DT_NODELABEL(gpiob)),
	.pin = 0,
	.dt_flags = GPIO_ACTIVE_HIGH,
};
static const struct gpio_dt_spec PB_1 = { 
	.port = DEVICE_DT_GET(DT_NODELABEL(gpiob)),
	.pin = 1,
	.dt_flags = GPIO_ACTIVE_HIGH,
};
static const struct gpio_dt_spec PC_10 = { 
	.port = DEVICE_DT_GET(DT_NODELABEL(gpioc)),
	.pin = 10,
	.dt_flags = GPIO_ACTIVE_HIGH,
};

static const struct gpio_dt_spec PC_11 = { 
	.port = DEVICE_DT_GET(DT_NODELABEL(gpioc)),
	.pin = 11,
	.dt_flags = GPIO_ACTIVE_HIGH,
};

static const struct gpio_dt_spec PC_12 = { 
	.port = DEVICE_DT_GET(DT_NODELABEL(gpioc)),
	.pin = 12,
	.dt_flags = GPIO_ACTIVE_HIGH,
};

static const struct gpio_dt_spec PA_15 = { 
	.port = DEVICE_DT_GET(DT_NODELABEL(gpioa)),
	.pin = 15,
	.dt_flags = (GPIO_ACTIVE_HIGH | GPIO_PULL_DOWN),
};

static const struct gpio_dt_spec PB_3 = { 
	.port = DEVICE_DT_GET(DT_NODELABEL(gpiob)),
	.pin = 3,
	.dt_flags = (GPIO_ACTIVE_HIGH | GPIO_PULL_DOWN),
};

static const struct gpio_dt_spec PB_8 = { 
	.port = DEVICE_DT_GET(DT_NODELABEL(gpiob)),
	.pin = 8,
	.dt_flags = (GPIO_ACTIVE_HIGH | GPIO_PULL_DOWN),
};

static const struct gpio_dt_spec PB_10 = { 
	.port = DEVICE_DT_GET(DT_NODELABEL(gpiob)),
	.pin = 10,
	.dt_flags = (GPIO_ACTIVE_HIGH | GPIO_PULL_DOWN),
};

static const struct gpio_dt_spec LED1 = { 
	.port = DEVICE_DT_GET(DT_NODELABEL(gpiob)),
	.pin = 2,
	.dt_flags = (GPIO_ACTIVE_HIGH | GPIO_PULL_DOWN),
};

static const struct adc_dt_spec PA_0 = ADC_DT_SPEC_GET_BY_IDX(DT_PATH(zephyr_user), 0);
static const struct adc_dt_spec PC_0 = ADC_DT_SPEC_GET_BY_IDX(DT_PATH(zephyr_user), 1);
static const struct adc_dt_spec PC_1 = ADC_DT_SPEC_GET_BY_IDX(DT_PATH(zephyr_user), 2);
static const struct adc_dt_spec PC_2 = ADC_DT_SPEC_GET_BY_IDX(DT_PATH(zephyr_user), 3);

static const struct pwm_dt_spec PA_8 = PWM_DT_SPEC_GET(DT_NODELABEL(pwm_u));
static const struct pwm_dt_spec PA_9 = PWM_DT_SPEC_GET(DT_NODELABEL(pwm_v));
static const struct pwm_dt_spec PA_10 = PWM_DT_SPEC_GET(DT_NODELABEL(pwm_w));
```
